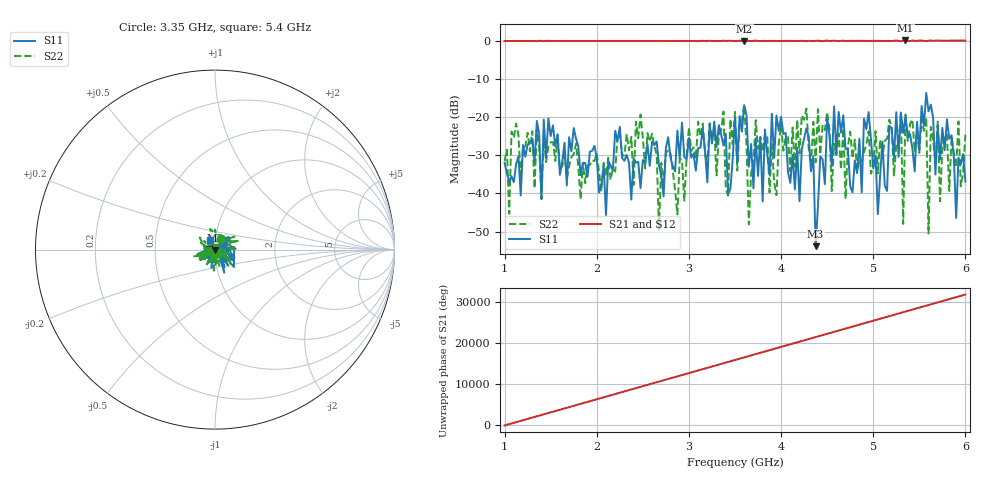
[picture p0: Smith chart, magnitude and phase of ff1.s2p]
!Keysight Technologies,E5080A,MY55100170,A.11.70.00
!Date: Tuesday, August 20, 2019 22:48:50
!Correction: S11(Full 2 Port(1,2))
!S21(Full 2 Port(1,2))
!S12(Full 2 Port(1,2))
!S22(Full 2 Port(1,2))
!S2P File: Measurements: S11, S21, S12, S22:
# Hz S  dB  R 50
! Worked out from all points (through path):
!   201 points, 1 GHz to 6 GHz, reference 50 ohm
!   highest |S21| = 0.12 dB at 5.35 GHz (marker M1); lowest = -0.1 dB at 3.6 GHz (marker M2)
!   lowest |S11| = -53.8 dB at 4.375 GHz (marker M3), VSWR 1.00, Z = 50 - j0.201 ohm
!   |S11| at or under -10 dB: start of sweep to end of sweep
!   |S22| runs from -50.5 to -16.8 dB; largest |S21 - S12| = 0.0089
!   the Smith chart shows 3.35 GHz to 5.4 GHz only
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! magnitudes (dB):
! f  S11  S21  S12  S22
! 1 GHz  -32.0  0.0  0.0  -31.5
! 1.85 GHz  -32.0  0.0  0.0  -31.9
! 2.475 GHz  -38.6  0.0  0.0  -19.3
! 2.675 GHz  -32.6  0.0  0.0  -49.4
! 3.5 GHz  -20.0  0.0  -0.1  -18.6
! 3.6 GHz  -16.9  -0.1  -0.1  -16.8
! 3.65 GHz  -33.0  0.0  0.0  -48.1
! 3.725 GHz  -25.5  0.1  0.1  -20.8
! 4.35 GHz  -30.2  0.0  0.0  -21.2
! 4.375 GHz  -53.8  0.0  0.0  -31.8
! 4.575 GHz  -17.2  0.1  0.1  -27.0
! 4.775 GHz  -39.7  0.0  0.0  -30.8
! 4.95 GHz  -18.7  0.0  0.0  -23.7
! 5.05 GHz  -45.4  0.0  0.0  -34.7
! 5.175 GHz  -22.3  0.0  0.0  -20.7
! 5.3 GHz  -18.8  -0.1  -0.1  -19.1
! 5.325 GHz  -24.1  0.1  0.0  -48.0
! 5.35 GHz  -19.7  0.1  0.1  -19.3
! 5.575 GHz  -13.6  0.0  -0.1  -20.1
! 5.6 GHz  -18.5  0.1  0.1  -50.5
! 5.625 GHz  -16.7  0.1  0.1  -22.6
! 6 GHz  -36.9  0.1  0.1  -24.6
